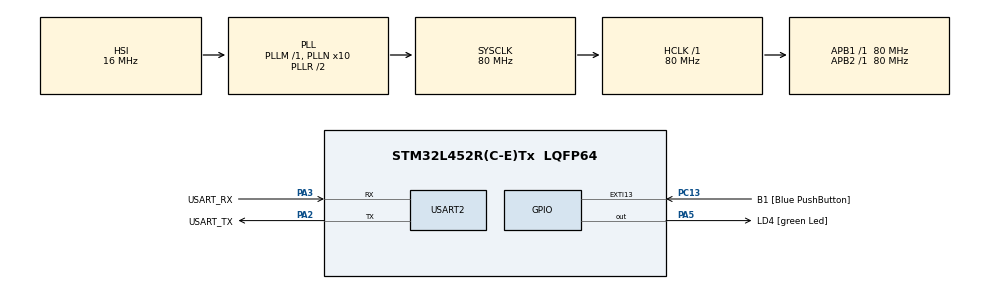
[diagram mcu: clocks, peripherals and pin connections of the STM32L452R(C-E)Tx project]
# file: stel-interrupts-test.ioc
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Mcu.Family=STM32L4
Mcu.Name=STM32L452R(C-E)Tx
Mcu.Package=LQFP64
NVIC.PriorityGroup=NVIC_PRIORITYGROUP_4
NVIC.USART2_IRQn=true\:0\:0\:false\:false\:true\:true\:true\:true
PA13\ (JTMS/SWDIO).GPIO_Label=TMS
PA13\ (JTMS/SWDIO).Mode=Serial_Wire
PA13\ (JTMS/SWDIO).Signal=SYS_JTMS-SWDIO
PA14\ (JTCK/SWCLK).GPIO_Label=TCK
PA14\ (JTCK/SWCLK).Mode=Serial_Wire
PA14\ (JTCK/SWCLK).Signal=SYS_JTCK-SWCLK
PA2.GPIO_Label=USART_TX
PA2.GPIO_Mode=GPIO_MODE_AF_PP
PA2.GPIO_PuPd=GPIO_NOPULL
PA2.GPIO_Speed=GPIO_SPEED_FREQ_VERY_HIGH
PA2.Mode=Asynchronous
PA2.Signal=USART2_TX
PA3.GPIO_Label=USART_RX
PA3.GPIO_Mode=GPIO_MODE_AF_PP
PA3.GPIO_PuPd=GPIO_NOPULL
PA3.GPIO_Speed=GPIO_SPEED_FREQ_VERY_HIGH
PA3.Mode=Asynchronous
PA3.Signal=USART2_RX
PA5.GPIO_Label=LD4 [green Led]
PA5.GPIO_ModeDefaultOutputPP=GPIO_MODE_OUTPUT_PP
PA5.GPIO_PuPd=GPIO_NOPULL
PA5.GPIO_Speed=GPIO_SPEED_FREQ_LOW
PA5.Signal=GPIO_Output
PB3\ (JTDO/TRACESWO).GPIO_Label=SWO
PB3\ (JTDO/TRACESWO).Signal=SYS_JTDO-SWO
PC13.GPIO_Label=B1 [Blue PushButton]
PC13.GPIO_ModeDefaultEXTI=GPIO_MODE_IT_FALLING
PC13.GPIO_PuPd=GPIO_NOPULL
PC13.Signal=GPXTI13
PC14-OSC32_IN\ (PC14).Mode=LSE-External-Oscillator
PC14-OSC32_IN\ (PC14).Signal=RCC_OSC32_IN
PC15-OSC32_OUT\ (PC15).Mode=LSE-External-Oscillator
PC15-OSC32_OUT\ (PC15).Signal=RCC_OSC32_OUT
PH0-OSC_IN\ (PH0).Signal=RCC_OSC_IN
PH1-OSC_OUT\ (PH1).Signal=RCC_OSC_OUT
ProjectManager.HeapSize=0x200
ProjectManager.StackSize=0x400
ProjectManager.TargetToolchain=STM32CubeIDE
RCC.ADCFreq_Value=64000000
RCC.AHBFreq_Value=80000000
RCC.APB1Freq_Value=80000000
RCC.APB1TimFreq_Value=80000000
RCC.APB2Freq_Value=80000000
RCC.APB2TimFreq_Value=80000000
RCC.CortexFreq_Value=80000000
RCC.HCLKFreq_Value=80000000
RCC.HSE_VALUE=8000000
RCC.HSI48_VALUE=48000000
RCC.HSI_VALUE=16000000
RCC.MSI_VALUE=4000000
RCC.PLLN=10
RCC.PLLSourceVirtual=RCC_PLLSOURCE_HSI
RCC.PREFETCH_ENABLE=1
RCC.SYSCLKFreq_VALUE=80000000
RCC.SYSCLKSource=RCC_SYSCLKSOURCE_PLLCLK
RCC.USBFreq_Value=64000000
RCC.VCOOutputFreq_Value=160000000
USART2.VirtualMode-Asynchronous=VM_ASYNC
board=NUCLEO-L452RE

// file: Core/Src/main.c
/* USER CODE BEGIN Header */
/**
  ******************************************************************************
  * @file           : main.c
  * @brief          : Main program body
  ******************************************************************************
  * @attention
  *
  * Copyright (c) 2023 STMicroelectronics.
  * All rights reserved.
  *
  * This software is licensed under terms that can be found in the LICENSE file
  * in the root directory of this software component.
  * If no LICENSE file comes with this software, it is provided AS-IS.
  *
  ******************************************************************************
  */
/* USER CODE END Header */
#include "main.h"

/* USER CODE BEGIN Includes */
#include <stdio.h>
#include <string.h>
/* USER CODE END Includes */

UART_HandleTypeDef huart2;

void SystemClock_Config(void);
static void MX_GPIO_Init(void);
static void MX_USART2_UART_Init(void);
/* USER CODE BEGIN PFP */
char stel_cmds[5] = {0};
char ra_str[9] = {0};
char dec_str[10] = {0};
int result1;
int result2;

void HAL_UART_RxCpltCallback(UART_HandleTypeDef *huart)
{
	result1 = strcmp(stel_cmds, "#:GR#");
	result2 = strcmp(stel_cmds, "#:GD#");

	if (result1==0) {
	  HAL_UART_Transmit_IT(&huart2, (uint8_t*)ra_str, sizeof(ra_str));
	} else if (result2==0) {
	  HAL_UART_Transmit_IT(&huart2, (uint8_t*)dec_str, sizeof(dec_str));
	} else {
		HAL_UART_Transmit_IT(&huart2, (uint8_t*)"\r\n Nothing", sizeof("\r\n Nothing"));
	}

	for (int i=0; i<sizeof(stel_cmds); i++) {
		stel_cmds[i] = 0;
	}

	HAL_UART_Receive_IT(&huart2, (uint8_t*)stel_cmds, 5);
}

void HAL_UART_TxCpltCallback(UART_HandleTypeDef *huart)
{
   // do nothing here
}

/* USER CODE END PFP */

int main(void)
{

  /* MCU Configuration--------------------------------------------------------*/

  /* Reset of all peripherals, Initializes the Flash interface and the Systick. */
  HAL_Init();

  /* Configure the system clock */
  SystemClock_Config();

  /* Initialize all configured peripherals */
  MX_GPIO_Init();
  MX_USART2_UART_Init();
  /* USER CODE BEGIN 2 */
  strcpy(ra_str,"18:36:58#");
  strcpy(dec_str,"+38'47:12#");
  HAL_UART_Receive_IT (&huart2, (uint8_t*)stel_cmds, 5);

  /* USER CODE END 2 */

  /* Infinite loop */
  while (1)
  {

    /* USER CODE BEGIN 3 */
	  HAL_GPIO_TogglePin (LD4_GPIO_Port, LD4_Pin);
	  HAL_Delay (250);
  }
  /* USER CODE END 3 */
}

void SystemClock_Config(void)
{
  RCC_OscInitTypeDef RCC_OscInitStruct = {0};
  RCC_ClkInitTypeDef RCC_ClkInitStruct = {0};

  /** Configure the main internal regulator output voltage
  */
  if (HAL_PWREx_ControlVoltageScaling(PWR_REGULATOR_VOLTAGE_SCALE1) != HAL_OK)
  {
    Error_Handler();
  }

  /** Initializes the RCC Oscillators according to the specified parameters
  * in the RCC_OscInitTypeDef structure.
  */
  RCC_OscInitStruct.OscillatorType = RCC_OSCILLATORTYPE_HSI;
  RCC_OscInitStruct.HSIState = RCC_HSI_ON;
  RCC_OscInitStruct.HSICalibrationValue = RCC_HSICALIBRATION_DEFAULT;
  RCC_OscInitStruct.PLL.PLLState = RCC_PLL_ON;
  RCC_OscInitStruct.PLL.PLLSource = RCC_PLLSOURCE_HSI;
  RCC_OscInitStruct.PLL.PLLM = 1;
  RCC_OscInitStruct.PLL.PLLN = 10;
  RCC_OscInitStruct.PLL.PLLP = RCC_PLLP_DIV7;
  RCC_OscInitStruct.PLL.PLLQ = RCC_PLLQ_DIV2;
  RCC_OscInitStruct.PLL.PLLR = RCC_PLLR_DIV2;
  if (HAL_RCC_OscConfig(&RCC_OscInitStruct) != HAL_OK)
  {
    Error_Handler();
  }

  /** Initializes the CPU, AHB and APB buses clocks
  */
  RCC_ClkInitStruct.ClockType = RCC_CLOCKTYPE_HCLK|RCC_CLOCKTYPE_SYSCLK
                              |RCC_CLOCKTYPE_PCLK1|RCC_CLOCKTYPE_PCLK2;
  RCC_ClkInitStruct.SYSCLKSource = RCC_SYSCLKSOURCE_PLLCLK;
  RCC_ClkInitStruct.AHBCLKDivider = RCC_SYSCLK_DIV1;
  RCC_ClkInitStruct.APB1CLKDivider = RCC_HCLK_DIV1;
  RCC_ClkInitStruct.APB2CLKDivider = RCC_HCLK_DIV1;

  if (HAL_RCC_ClockConfig(&RCC_ClkInitStruct, FLASH_LATENCY_4) != HAL_OK)
  {
    Error_Handler();
  }
}

static void MX_USART2_UART_Init(void)
{

  huart2.Instance = USART2;
  huart2.Init.BaudRate = 115200;
  huart2.Init.WordLength = UART_WORDLENGTH_8B;
  huart2.Init.StopBits = UART_STOPBITS_1;
  huart2.Init.Parity = UART_PARITY_NONE;
  huart2.Init.Mode = UART_MODE_TX_RX;
  huart2.Init.HwFlowCtl = UART_HWCONTROL_NONE;
  huart2.Init.OverSampling = UART_OVERSAMPLING_16;
  huart2.Init.OneBitSampling = UART_ONE_BIT_SAMPLE_DISABLE;
  huart2.AdvancedInit.AdvFeatureInit = UART_ADVFEATURE_NO_INIT;
  if (HAL_UART_Init(&huart2) != HAL_OK)
  {
    Error_Handler();
  }

}

static void MX_GPIO_Init(void)
{
  GPIO_InitTypeDef GPIO_InitStruct = {0};

  /* GPIO Ports Clock Enable */
  __HAL_RCC_GPIOC_CLK_ENABLE();
  __HAL_RCC_GPIOH_CLK_ENABLE();
  __HAL_RCC_GPIOA_CLK_ENABLE();
  __HAL_RCC_GPIOB_CLK_ENABLE();

  /*Configure GPIO pin Output Level */
  HAL_GPIO_WritePin(LD4_GPIO_Port, LD4_Pin, GPIO_PIN_RESET);

  /*Configure GPIO pin : B1_Pin */
  GPIO_InitStruct.Pin = B1_Pin;
  GPIO_InitStruct.Mode = GPIO_MODE_IT_FALLING;
  GPIO_InitStruct.Pull = GPIO_NOPULL;
  HAL_GPIO_Init(B1_GPIO_Port, &GPIO_InitStruct);

  /*Configure GPIO pin : LD4_Pin */
  GPIO_InitStruct.Pin = LD4_Pin;
  GPIO_InitStruct.Mode = GPIO_MODE_OUTPUT_PP;
  GPIO_InitStruct.Pull = GPIO_NOPULL;
  GPIO_InitStruct.Speed = GPIO_SPEED_FREQ_LOW;
  HAL_GPIO_Init(LD4_GPIO_Port, &GPIO_InitStruct);

}

void Error_Handler(void)
{
  __disable_irq();
  while (1)
  {
  }
}
